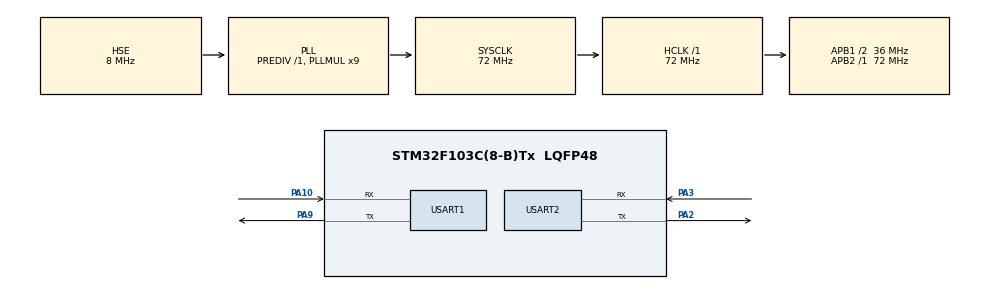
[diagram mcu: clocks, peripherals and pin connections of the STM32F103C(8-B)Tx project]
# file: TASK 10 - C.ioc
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Mcu.Family=STM32F1
Mcu.Name=STM32F103C(8-B)Tx
Mcu.Package=LQFP48
NVIC.PriorityGroup=NVIC_PRIORITYGROUP_4
PA10.Mode=Asynchronous
PA10.Signal=USART1_RX
PA13.Mode=Serial_Wire
PA13.Signal=SYS_JTMS-SWDIO
PA14.Mode=Serial_Wire
PA14.Signal=SYS_JTCK-SWCLK
PA2.Mode=Asynchronous
PA2.Signal=USART2_TX
PA3.Mode=Asynchronous
PA3.Signal=USART2_RX
PA9.Mode=Asynchronous
PA9.Signal=USART1_TX
PD0-OSC_IN.Mode=HSE-External-Oscillator
PD0-OSC_IN.Signal=RCC_OSC_IN
PD1-OSC_OUT.Mode=HSE-External-Oscillator
PD1-OSC_OUT.Signal=RCC_OSC_OUT
ProjectManager.HeapSize=0x200
ProjectManager.StackSize=0x400
ProjectManager.TargetToolchain=MDK-ARM V5.32
RCC.AHBFreq_Value=72000000
RCC.APB1CLKDivider=RCC_HCLK_DIV2
RCC.APB1Freq_Value=36000000
RCC.APB1TimFreq_Value=72000000
RCC.APB2Freq_Value=72000000
RCC.APB2TimFreq_Value=72000000
RCC.HCLKFreq_Value=72000000
RCC.PLLMUL=RCC_PLL_MUL9
RCC.PLLSourceVirtual=RCC_PLLSOURCE_HSE
RCC.SYSCLKFreq_VALUE=72000000
RCC.SYSCLKSource=RCC_SYSCLKSOURCE_PLLCLK
RCC.USBFreq_Value=72000000
USART1.VirtualMode=VM_ASYNC
USART2.VirtualMode=VM_ASYNC
board=custom

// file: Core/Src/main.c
/* USER CODE BEGIN Header */
/**
  ******************************************************************************
  * @file           : main.c
  * @brief          : Main program body
  ******************************************************************************
  * @attention
  *
  * Copyright (c) 2026 STMicroelectronics.
  * All rights reserved.
  *
  * This software is licensed under terms that can be found in the LICENSE file
  * in the root directory of this software component.
  * If no LICENSE file comes with this software, it is provided AS-IS.
  *
  ******************************************************************************
  */
/* USER CODE END Header */
#include "main.h"
#include <string.h>

UART_HandleTypeDef huart1;
UART_HandleTypeDef huart2;

void SystemClock_Config(void);
static void MX_GPIO_Init(void);
static void MX_USART1_UART_Init(void);
static void MX_USART2_UART_Init(void);

/* USER CODE BEGIN 0 */
void Send_AT_Command(char *cmd)
{
    uint8_t rx;
    uint32_t start;

    // Display command on PC
    HAL_UART_Transmit(&huart1, (uint8_t *)">> ", 3, HAL_MAX_DELAY);
    HAL_UART_Transmit(&huart1, (uint8_t *)cmd,
                      strlen(cmd) - 2, HAL_MAX_DELAY);
    HAL_UART_Transmit(&huart1, (uint8_t *)"\r\n", 2, HAL_MAX_DELAY);

    // Send command to ESP8266
    HAL_UART_Transmit(&huart2, (uint8_t *)cmd,
                      strlen(cmd), HAL_MAX_DELAY);

    // Receive response for up to 20 seconds
    start = HAL_GetTick();

    while (HAL_GetTick() - start < 20000)
    {
        if (HAL_UART_Receive(&huart2, &rx, 1, 100) == HAL_OK)
        {
            HAL_UART_Transmit(&huart1, &rx, 1, HAL_MAX_DELAY);

            if (rx == '\n' &&
                HAL_GetTick() - start > 1000)
            {
                // Continue receiving until timeout
            }
        }
    }
}
/* USER CODE END 0 */

int main(void)
{

  /* MCU Configuration--------------------------------------------------------*/

  /* Reset of all peripherals, Initializes the Flash interface and the Systick. */
  HAL_Init();

  /* Configure the system clock */
  SystemClock_Config();

  /* Initialize all configured peripherals */
  MX_GPIO_Init();
  MX_USART1_UART_Init();
  MX_USART2_UART_Init();
  /* USER CODE BEGIN 2 */
	HAL_UART_Transmit(&huart1,
    (uint8_t *)"STM32-WiFi MODEM TEST\r\n",
    23, HAL_MAX_DELAY);

	HAL_Delay(1000);

	Send_AT_Command("AT\r\n");

	HAL_Delay(1000);

	Send_AT_Command("AT+CWMODE=1\r\n");

	HAL_Delay(1000);

	Send_AT_Command("AT+CWJAP=\"SNUC\",\"snu12345\"\r\n");

  /* USER CODE END 2 */

  /* Infinite loop */
  while (1)
  {

  }
}

void SystemClock_Config(void)
{
  RCC_OscInitTypeDef RCC_OscInitStruct = {0};
  RCC_ClkInitTypeDef RCC_ClkInitStruct = {0};

  /** Initializes the RCC Oscillators according to the specified parameters
  * in the RCC_OscInitTypeDef structure.
  */
  RCC_OscInitStruct.OscillatorType = RCC_OSCILLATORTYPE_HSE;
  RCC_OscInitStruct.HSEState = RCC_HSE_ON;
  RCC_OscInitStruct.HSEPredivValue = RCC_HSE_PREDIV_DIV1;
  RCC_OscInitStruct.HSIState = RCC_HSI_ON;
  RCC_OscInitStruct.PLL.PLLState = RCC_PLL_ON;
  RCC_OscInitStruct.PLL.PLLSource = RCC_PLLSOURCE_HSE;
  RCC_OscInitStruct.PLL.PLLMUL = RCC_PLL_MUL9;
  if (HAL_RCC_OscConfig(&RCC_OscInitStruct) != HAL_OK)
  {
    Error_Handler();
  }

  /** Initializes the CPU, AHB and APB buses clocks
  */
  RCC_ClkInitStruct.ClockType = RCC_CLOCKTYPE_HCLK|RCC_CLOCKTYPE_SYSCLK
                              |RCC_CLOCKTYPE_PCLK1|RCC_CLOCKTYPE_PCLK2;
  RCC_ClkInitStruct.SYSCLKSource = RCC_SYSCLKSOURCE_PLLCLK;
  RCC_ClkInitStruct.AHBCLKDivider = RCC_SYSCLK_DIV1;
  RCC_ClkInitStruct.APB1CLKDivider = RCC_HCLK_DIV2;
  RCC_ClkInitStruct.APB2CLKDivider = RCC_HCLK_DIV1;

  if (HAL_RCC_ClockConfig(&RCC_ClkInitStruct, FLASH_LATENCY_2) != HAL_OK)
  {
    Error_Handler();
  }
}

static void MX_USART1_UART_Init(void)
{

  huart1.Instance = USART1;
  huart1.Init.BaudRate = 115200;
  huart1.Init.WordLength = UART_WORDLENGTH_8B;
  huart1.Init.StopBits = UART_STOPBITS_1;
  huart1.Init.Parity = UART_PARITY_NONE;
  huart1.Init.Mode = UART_MODE_TX_RX;
  huart1.Init.HwFlowCtl = UART_HWCONTROL_NONE;
  huart1.Init.OverSampling = UART_OVERSAMPLING_16;
  if (HAL_UART_Init(&huart1) != HAL_OK)
  {
    Error_Handler();
  }

}

static void MX_USART2_UART_Init(void)
{

  huart2.Instance = USART2;
  huart2.Init.BaudRate = 115200;
  huart2.Init.WordLength = UART_WORDLENGTH_8B;
  huart2.Init.StopBits = UART_STOPBITS_1;
  huart2.Init.Parity = UART_PARITY_NONE;
  huart2.Init.Mode = UART_MODE_TX_RX;
  huart2.Init.HwFlowCtl = UART_HWCONTROL_NONE;
  huart2.Init.OverSampling = UART_OVERSAMPLING_16;
  if (HAL_UART_Init(&huart2) != HAL_OK)
  {
    Error_Handler();
  }

}

static void MX_GPIO_Init(void)
{

  /* GPIO Ports Clock Enable */
  __HAL_RCC_GPIOD_CLK_ENABLE();
  __HAL_RCC_GPIOA_CLK_ENABLE();

}

void Error_Handler(void)
{
  __disable_irq();
  while (1)
  {
  }
}
